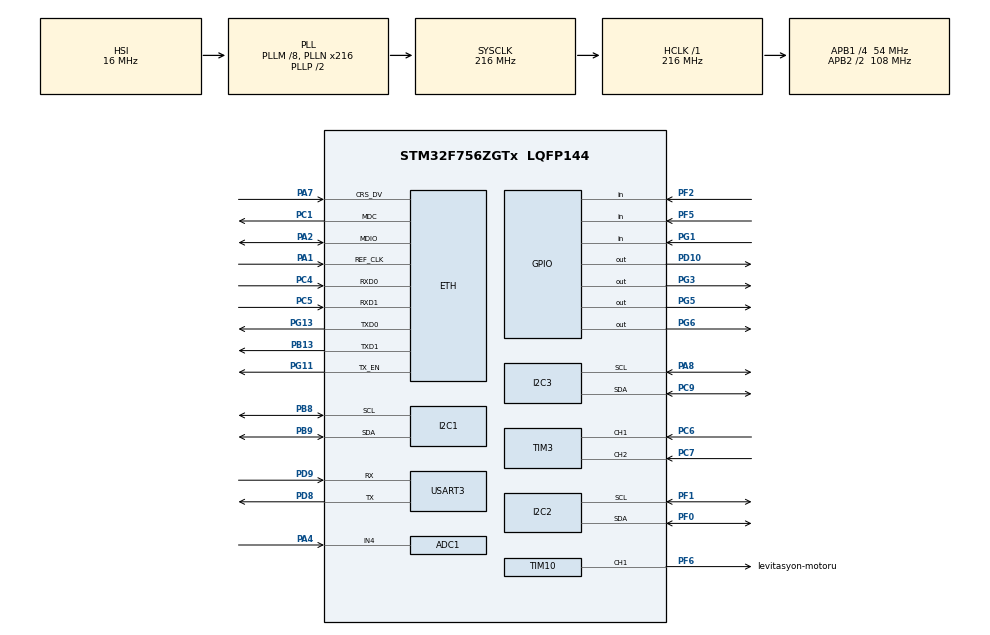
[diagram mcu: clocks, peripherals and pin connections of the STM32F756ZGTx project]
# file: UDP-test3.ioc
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ADC1.Channel-0\#ChannelRegularConversion=ADC_CHANNEL_4
ADC1.ClockPrescaler=ADC_CLOCK_SYNC_PCLK_DIV8
ADC1.ContinuousConvMode=ENABLE
ADC1.NbrOfConversionFlag=1
ADC1.Rank-0\#ChannelRegularConversion=1
ADC1.SamplingTime-0\#ChannelRegularConversion=ADC_SAMPLETIME_3CYCLES
ADC1.master=1
CORTEX_M7.default_mode_Activation=1
ETH.MediaInterface=HAL_ETH_RMII_MODE
I2C1.Timing=0x20404768
I2C2.Timing=0x20404768
I2C3.Timing=0x20404768
LWIP.BSP.number=1
LWIP.GATEWAY_ADDRESS=192.168.001.001
LWIP.IP_ADDRESS=192.168.001.020
LWIP.LWIP_DHCP=0
LWIP.LWIP_TCP=0
LWIP.NETMASK_ADDRESS=255.255.255.000
LWIP.Version=v2.1.2_Cube
LWIP0.BSP.STBoard=false
LWIP0.BSP.api=BSP_COMPONENT_DRIVER
LWIP0.BSP.component=LAN8742
LWIP0.BSP.instance=LAN8742
LWIP0.BSP.name=Driver_PHY
LWIP0.BSP.semaphore=S_LAN8742
LWIP0.BSP.solution=LAN8742
Mcu.Family=STM32F7
Mcu.Name=STM32F756ZGTx
Mcu.Package=LQFP144
NVIC.PriorityGroup=NVIC_PRIORITYGROUP_4
PA1.Mode=RMII
PA1.Signal=ETH_REF_CLK
PA13.Mode=Serial_Wire
PA13.Signal=SYS_JTMS-SWDIO
PA14.Mode=Serial_Wire
PA14.Signal=SYS_JTCK-SWCLK
PA2.Mode=RMII
PA2.Signal=ETH_MDIO
PA4.Signal=ADCx_IN4
PA7.Mode=RMII
PA7.Signal=ETH_CRS_DV
PA8.Mode=I2C
PA8.Signal=I2C3_SCL
PB13.Mode=RMII
PB13.Signal=ETH_TXD1
PB8.Mode=I2C
PB8.Signal=I2C1_SCL
PB9.Mode=I2C
PB9.Signal=I2C1_SDA
PC1.Mode=RMII
PC1.Signal=ETH_MDC
PC4.Mode=RMII
PC4.Signal=ETH_RXD0
PC5.Mode=RMII
PC5.Signal=ETH_RXD1
PC6.Signal=S_TIM3_CH1
PC7.Signal=S_TIM3_CH2
PC9.Mode=I2C
PC9.Signal=I2C3_SDA
PD10.Signal=GPIO_Output
PD8.Mode=Asynchronous
PD8.Signal=USART3_TX
PD9.Mode=Asynchronous
PD9.Signal=USART3_RX
PF0.Mode=I2C
PF0.Signal=I2C2_SDA
PF1.Mode=I2C
PF1.Signal=I2C2_SCL
PF2.Signal=GPIO_Input
PF5.Signal=GPIO_Input
PF6.GPIO_Label=levitasyon-motoru
PF6.Signal=S_TIM10_CH1
PG1.Signal=GPIO_Input
PG11.Mode=RMII
PG11.Signal=ETH_TX_EN
PG13.Mode=RMII
PG13.Signal=ETH_TXD0
PG3.Signal=GPIO_Output
PG5.Signal=GPIO_Output
PG6.Signal=GPIO_Output
ProjectManager.HeapSize=0x200
ProjectManager.StackSize=0x400
ProjectManager.TargetToolchain=STM32CubeIDE
RCC.AHBFreq_Value=216000000
RCC.APB1CLKDivider=RCC_HCLK_DIV4
RCC.APB1Freq_Value=54000000
RCC.APB1TimFreq_Value=108000000
RCC.APB2CLKDivider=RCC_HCLK_DIV2
RCC.APB2Freq_Value=108000000
RCC.APB2TimFreq_Value=216000000
RCC.CortexFreq_Value=216000000
RCC.HCLKFreq_Value=216000000
RCC.HSE_VALUE=25000000
RCC.HSI_VALUE=16000000
RCC.LSE_VALUE=32768
RCC.PLLM=8
RCC.PLLN=216
RCC.SYSCLKFreq_VALUE=216000000
RCC.SYSCLKSource=RCC_SYSCLKSOURCE_PLLCLK
RCC.USBFreq_Value=216000000
RCC.VCOOutputFreq_Value=432000000
SH.ADCx_IN4.0=ADC1_IN4,IN4
SH.S_TIM10_CH1.0=TIM10_CH1,PWM Generation1 CH1
SH.S_TIM3_CH1.0=TIM3_CH1,Encoder_Interface
SH.S_TIM3_CH2.0=TIM3_CH2,Encoder_Interface
TIM10.Channel=TIM_CHANNEL_1
TIM3.EncoderMode=TIM_ENCODERMODE_TI12
USART3.VirtualMode-Asynchronous=VM_ASYNC
VP_LWIP_VS_Enabled.Mode=Enabled
VP_TIM10_VS_ClockSourceINT.Mode=Enable_Timer
board=custom

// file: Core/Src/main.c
/* USER CODE BEGIN Header */
/**
  ******************************************************************************
  * @file           : main.c
  * @brief          : Main program body
  ******************************************************************************
  * @attention
  *
  * Copyright (c) 2025 STMicroelectronics.
  * All rights reserved.
  *
  * This software is licensed under terms that can be found in the LICENSE file
  * in the root directory of this software component.
  * If no LICENSE file comes with this software, it is provided AS-IS.
  *
  ******************************************************************************
  */
/* USER CODE END Header */
#include "main.h"
#include "lwip.h"

/* USER CODE BEGIN Includes */
#include "string.h"
#include "stdio.h"
#include "lwip/udp.h"
#include "lwip/ip_addr.h"
#include "udp_echoserver.h"
#include "stm32f7xx_hal.h"
#include "stm32f7xx_hal_gpio.h"
#include "mlx90614.h"
#include "bno055.h"
#include "ir_sensor.h"
#include "encoder.h"
/* USER CODE END Includes */

/* USER CODE BEGIN PTD */
// BNO055 sensor instance
bno055_t bno055_sensor;

// IR sensor instances
ir_sensor_t ir_sensor;
ir_sensor_t ir_sensor2;  // İkinci IR sensör için yapı
/* USER CODE END PTD */

/* USER CODE BEGIN PD */

#define LD1_Pin GPIO_PIN_0
#define LD2_Pin GPIO_PIN_7
#define LD3_Pin GPIO_PIN_14
#define LD1_GPIO_Port GPIOB
#define LD2_GPIO_Port GPIOB
#define LD3_GPIO_Port GPIOB

/* IR Sensor pin tanımlamaları */
#define IR_SENSOR_Pin GPIO_PIN_5
#define IR_SENSOR_GPIO_Port GPIOF

/* Akım sensörü tanımlamaları */
#define ADC_PIN GPIO_PIN_4        // PA4 pin ADC1_IN4
#define ADC_PORT GPIOA
#define VCC 3.31f                  // Referans gerilim STM32
#define SIFIR_NOKTA 2.5f         // Sıfır akımda çıkış voltajı
#define HASSASIYET 0.04f          // Sensör hassasiyeti (V/A)

// Filtreleme parametreleri
#define SAMPLE_COUNT 50           // Ortalama için örnek sayısı
#define ALPHA 0.1f               // Low-pass filter katsayısı (0.1 = %10 yeni, %90 eski)

// İKİNCİ IR SENSOR
#define IR_SENSOR2_Pin GPIO_PIN_1
#define IR_SENSOR2_GPIO_Port GPIOG

// ENCODER Z pini  Tanımlaması
#define ENCODER_PIN GPIO_PIN_2
#define ENCODER_PIN_GPIO_Port GPIOF

/* USER CODE END PD */

ADC_HandleTypeDef hadc1;

I2C_HandleTypeDef hi2c1;
I2C_HandleTypeDef hi2c2;
I2C_HandleTypeDef hi2c3;

TIM_HandleTypeDef htim3;
TIM_HandleTypeDef htim10;

UART_HandleTypeDef huart3;

/* USER CODE BEGIN PV */
extern ADC_HandleTypeDef hadc1;
uint32_t counter = 0;
extern uint8_t current_speed;  // udp_echoserver.c'deki global değişkeni dışa aktarıyoruz
struct udp_pcb *udp_socket;
ip_addr_t dest_ip;

// MLX90614 Temperature Sensor Variables (volatile for Live Expressions)
volatile float ambient_temp_C = 0.0f;
volatile float object_temp_C = 0.0f;
volatile uint8_t mlx_connection_status = 0;
volatile uint32_t ambient_error_count = 0;
volatile uint32_t object_error_count = 0;

// BNO055 Accelerometer Variables (volatile for Live Expressions)
volatile float accel_x = 0.0f;
volatile float accel_y = 0.0f;
volatile float accel_z = 0.0f;

// BNO055 Gyroscope Variables (volatile for Live Expressions)
volatile float gyro_x = 0.0f;
volatile float gyro_y = 0.0f;
volatile float gyro_z = 0.0f;

// Akım Sensörü Değişkenleri
volatile float voltage = 0;
volatile float current = 0;
volatile float filtered_voltage = 0;
volatile float filtered_current = 0;

// Encoder Değişkenleri (encoder.c'den extern)
extern volatile int32_t encoder_position;
extern volatile int32_t encoder_velocity;
extern volatile float encoder_speed;
extern volatile float encoder_total_distance;

// IR Sensör Variables (volatile for Live Expressions)
volatile uint8_t ir_sensor_state = 0;
volatile uint8_t last_ir_sensor_state = 1;
volatile uint32_t ir_object_count = 0;

// İKİNCİ IR SENSÖR - PF4 PİNİ (YENİ!)
volatile uint8_t ir_sensor2_state = 0;
volatile uint8_t last_ir_sensor2_state = 1;
volatile uint32_t ir_object2_count = 0;

// Additional global variables for sensor operations
MLX90614_t mlx90614_sensor_instance;
char uart_buffer[512];

// Motor kontrol pinleri
GPIO_TypeDef *INPUT1_PORT = GPIOG;
GPIO_TypeDef *INPUT2_PORT = GPIOD;
uint16_t INPUT1_PIN = GPIO_PIN_3;  // PG3
uint16_t INPUT2_PIN = GPIO_PIN_10; // PD10
/* USER CODE END PV */

void SystemClock_Config(void);
static void MPU_Config(void);
static void MX_GPIO_Init(void);
static void MX_USART3_UART_Init(void);
static void MX_TIM10_Init(void);
static void MX_I2C1_Init(void);
static void MX_I2C2_Init(void);
static void MX_I2C3_Init(void);
static void MX_TIM3_Init(void);
static void MX_ADC1_Init(void);

/* USER CODE BEGIN 0 */

// ESC kalibrasyon ve hız kontrolü için değişkenler
static const uint32_t ESC_MIN_PULSE = 1050;     // Minimum pulse (Futaba standard)
static const uint32_t ESC_MAX_PULSE = 1940;     // Maximum pulse (Futaba standard)
static const uint32_t ESC_START_PULSE = 1050;   // Başlangıç pulse değeri
static uint8_t esc_calibrated = 0;              // Kalibrasyon durumu

// ESC başlangıç kalibrasyonu
void CalibrateESC(void) {
    // Önce minimum sinyal gönder ve bekle
    __HAL_TIM_SET_COMPARE(&htim10, TIM_CHANNEL_1, ESC_MIN_PULSE);
    HAL_Delay(2000);  // 2 saniye bekle

    // Başlangıç sinyalini gönder
    __HAL_TIM_SET_COMPARE(&htim10, TIM_CHANNEL_1, ESC_START_PULSE);
    HAL_Delay(2000);  // 2 saniye bekle

    esc_calibrated = 1;  // Kalibrasyon tamamlandı
}
void IncreaseMotorSpeed(void) {
    if (current_speed < 100) {
        current_speed += 1;  // %0.5'lik artış
        SetMotorSpeed(current_speed);
    }
}

void DecreaseMotorSpeed(void) {
    if (current_speed > 0) {
        current_speed  = 0;  // direkt sıfırlama
        SetMotorSpeed(current_speed);
    }
}

// ESC hız kontrolü için fonksiyon (0-100 yüzde)
void SetMotorSpeed(uint8_t speed_percent) {
    if (!esc_calibrated) return;

    if (speed_percent > 100) speed_percent = 100;

    uint32_t pulse;
    if (speed_percent == 0) {
        pulse = ESC_MIN_PULSE;
    } else {
        pulse = ESC_MIN_PULSE + (((uint32_t)(ESC_MAX_PULSE - ESC_MIN_PULSE) * speed_percent) / 100);
    }

    // Timer değerlerine ölçekle
    uint32_t timer_value = (pulse * (htim10.Init.Period + 1)) / 20000;
    __HAL_TIM_SET_COMPARE(&htim10, TIM_CHANNEL_1, timer_value);
}

uint32_t ADC_Read_Average(void)
{
    uint32_t total = 0;
    uint32_t valid_samples = 0;

    for(int i = 0; i < SAMPLE_COUNT; i++)
    {
        HAL_ADC_Start(&hadc1);
        if(HAL_ADC_PollForConversion(&hadc1, 100) == HAL_OK)
        {
            uint32_t val = HAL_ADC_GetValue(&hadc1);
            total += val;
            valid_samples++;
        }
        HAL_ADC_Stop(&hadc1);
        HAL_Delay(1);  // Örnekler arası kısa bekleme
    }

    if(valid_samples > 0)
        return total / valid_samples;
    else
        return 0;
}

// Low-pass filtre fonksiyonu
float lowPassFilter(float newValue, float oldValue)
{
    return (ALPHA * newValue) + ((1.0f - ALPHA) * oldValue);
}
/* USER CODE END 0 */

int main(void)
{

  /* MPU Configuration--------------------------------------------------------*/
  MPU_Config();

  /* MCU Configuration--------------------------------------------------------*/

  /* Reset of all peripherals, Initializes the Flash interface and the Systick. */
  HAL_Init();

  /* Configure the system clock */
  SystemClock_Config();

  /* Initialize all configured peripherals */
  MX_GPIO_Init();
  MX_USART3_UART_Init();
  MX_LWIP_Init();
  MX_TIM10_Init();
  MX_I2C1_Init();
  MX_I2C2_Init();
  MX_I2C3_Init();
  MX_TIM3_Init();
  MX_ADC1_Init();
  /* USER CODE BEGIN 2 */
    // MLX90614 sensor instance initialization
  mlx90614_init(&mlx90614_sensor_instance, &hi2c1, 0xB4);

  // IR sensor'ü başlat
  ir_sensor_init(&ir_sensor, IR_SENSOR_GPIO_Port, IR_SENSOR_Pin);

    // İKİNCİ IR SENSOR'Ü BAŞLAT - PF4 PİNİ (YENİ!)
  ir_sensor_init(&ir_sensor2, IR_SENSOR2_GPIO_Port, IR_SENSOR2_Pin);

    // BNO055 initialization (I2C2) - using existing library
  if(bno055_init(&bno055_sensor, &hi2c2, BNO055_ADDRESS_A)) {
      bno055_setOperationMode(&bno055_sensor, OPERATION_MODE_ACCONLY);
      HAL_Delay(100);
      sprintf(uart_buffer, "BNO055 initialized successfully.\r\n");
  } else {
      sprintf(uart_buffer, "BNO055 initialization failed.\r\n");
  }
  HAL_UART_Transmit(&huart3,(uint8_t*)uart_buffer,strlen(uart_buffer),10);

    // Encoder initialization (TIM3) - NOT TOUCHING
  HAL_TIM_Encoder_Start(&htim3, TIM_CHANNEL_ALL);
  HAL_GPIO_WritePin(ENCODER_PIN_GPIO_Port, ENCODER_PIN, GPIO_PIN_SET);

  // Başlangıçta her iki pini HIGH yaparak aracı durdur
  HAL_GPIO_WritePin(GPIOG, GPIO_PIN_3, GPIO_PIN_SET);    // PG3 HIGH
  HAL_GPIO_WritePin(GPIOD, GPIO_PIN_10, GPIO_PIN_SET);   // PD10 HIGH

  // PWM çıkışını başlat ve ESC için güvenli başlangıç değerini ayarla
  HAL_TIM_PWM_Start(&htim10, TIM_CHANNEL_1);
  __HAL_TIM_SET_COMPARE(&htim10, TIM_CHANNEL_1, ESC_MIN_PULSE); // Minimum pulse değeri

  // ESC kalibrasyonunu yap
  CalibrateESC();

  // Initialize UDP echo server
  __udp_echoserver_init_oo();

  // Setup the UDP socket
  udp_socket = udp_new();
  if (udp_socket == NULL)
  {
    printf("Error creating UDP socket\n");
    return 1;
  }

  // Set packet headers informations
  IP4_ADDR(&dest_ip, 192, 168, 1, 255);
  uint16_t dest_port = 8080;

  /* USER CODE END 2 */

  /* Infinite loop */
  while (1)
  {

    /* USER CODE BEGIN 3 */
    // Process incoming packet and let LwIP stack handle it
    MX_LWIP_Process();
    //Levitasyon motorunun hızını istediğimiz zaman durdurmamızı sağlayan fonksiyon
    ProcessLevitation();
    // Ortalama ADC okuması
    uint32_t adc_val = ADC_Read_Average();

    // Ham voltaj hesaplama
    voltage = ((float)adc_val * VCC) / 4095.0f;
    current = (SIFIR_NOKTA - voltage) / HASSASIYET;

    // Low-pass filtre uygula
    filtered_voltage = lowPassFilter(voltage, filtered_voltage);
    filtered_current = lowPassFilter(current, filtered_current);
// MLX90614 Temperature readings - Güvenli okuma
    float ambient=0.0f, object=0.0f;
    if(mlx90614_getAmbient(&mlx90614_sensor_instance, &ambient)) {
        ambient_temp_C = ambient;
        mlx_connection_status = 1;
    } else {
        ambient_error_count++;
        mlx_connection_status = 0;
        ambient_temp_C = 25.0f; // Varsayılan sıcaklık
    }
    if(mlx90614_getObject1(&mlx90614_sensor_instance, &object)) {
        object_temp_C = object;
    } else {
        object_error_count++;
        object_temp_C = 30.0f; // Varsayılan nesne sıcaklığı
    }

        // BNO055 Accelerometer readings using existing library
    bno055_vector_t accel_vector;
    if(bno055_getVector(&bno055_sensor, VECTOR_ACCELEROMETER, &accel_vector)) {
        accel_x = accel_vector.x;
        accel_y = accel_vector.y;
        accel_z = accel_vector.z;
    }

    // BNO055 Gyroscope readings using existing library
    bno055_vector_t gyro_vector;
    if(bno055_getVector(&bno055_sensor, VECTOR_GYROSCOPE, &gyro_vector)) {
        gyro_x = gyro_vector.x;
        gyro_y = gyro_vector.y;
        gyro_z = gyro_vector.z;
    }

        // Encoder readings (external function)
    Encoder_Update();

        // IR Sensor readings using existing library
    ir_sensor_update(&ir_sensor);
    ir_sensor_state = ir_sensor_get_state(&ir_sensor);
    if(last_ir_sensor_state != ir_sensor_state){
        if(ir_sensor_state == 0) ir_object_count++;
    }
    last_ir_sensor_state = ir_sensor_state;

    // İKİNCİ IR SENSOR OKUMA - PF4 PİNİ (YENİ!)
    ir_sensor_update(&ir_sensor2);
    ir_sensor2_state = ir_sensor_get_state(&ir_sensor2);
    if(last_ir_sensor2_state != ir_sensor2_state){
        if(ir_sensor2_state == 0) ir_object2_count++;
    }
    last_ir_sensor2_state = ir_sensor2_state;

    // Sensör verilerini integer'a çevir
    int temp_int = (int)(ambient_temp_C * 100);
    int obj_temp_int = (int)(object_temp_C * 100);
    int ax_int = (int)(accel_x * 100);
    int ay_int = (int)(accel_y * 100);
    int az_int = (int)(accel_z * 100);
    int gx_int = (int)(gyro_x * 100);
    int gy_int = (int)(gyro_y * 100);
    int gz_int = (int)(gyro_z * 100);

    // Encoder verilerini metreye çevir (cm -> m)
    float total_distance_m = get_total_distance() / 100.0f;  // cm'den metreye çevir
    long enc_pos_int = (long)(total_distance_m * 1000);  // Metreyi milimetreye çevir ve long olarak sakla
    long enc_spd_int = (long)(encoder_speed * 1000);    // Hızı da aynı şekilde

    //Akım Sensörü verilerini integer'a çevir

    int current_int = (int)(filtered_current * 100);

    // Sıcaklık ve IMU verilerini 0-9999 aralığında sınırla
    temp_int = temp_int < 0 ? 0 : (temp_int > 9999 ? 9999 : temp_int);
    obj_temp_int = obj_temp_int < 0 ? 0 : (obj_temp_int > 9999 ? 9999 : obj_temp_int);
    ax_int = ax_int < 0 ? 0 : (ax_int > 9999 ? 9999 : ax_int);
    ay_int = ay_int < 0 ? 0 : (ay_int > 9999 ? 9999 : ay_int);
    az_int = az_int < 0 ? 0 : (az_int > 9999 ? 9999 : az_int);
    gx_int = gx_int < 0 ? 0 : (gx_int > 9999 ? 9999 : gx_int);
    gy_int = gy_int < 0 ? 0 : (gy_int > 9999 ? 9999 : gy_int);
    gz_int = gz_int < 0 ? 0 : (gz_int > 9999 ? 9999 : gz_int);

    // JSON formatında birleştir
    char message[1024];  // Buffer boyutunu artırdık
    snprintf(message, sizeof(message),
        "{\"temperature\":%d,\"object_temp\":%d,\"accel_x\":%d,\"accel_y\":%d,\"accel_z\":%d,"
        "\"gyro_x\":%d,\"gyro_y\":%d,\"gyro_z\":%d,\"total_distance\":%ld,\"encoder_speed\":%ld,"
        "\"ir_state\":%d,\"ir_state2\":%d,\"current\":%d}",
        temp_int, obj_temp_int, ax_int, ay_int, az_int, gx_int, gy_int, gz_int,
        enc_pos_int, enc_spd_int, ir_object_count, ir_object2_count,current_int);

    // Set the structure to handle the packet
    struct pbuf *p;
    p = pbuf_alloc(PBUF_TRANSPORT, strlen(message) + 1, PBUF_RAM);
    if (p == NULL)
    {
        printf("Error allocating pbuf\n");
        break;
    }

    // Send the JSON message over UDP
    memcpy(p->payload, message, strlen(message) + 1);
    err_t err = udp_sendto(udp_socket, p, &dest_ip, dest_port);
    if (err != ERR_OK)
    {
        printf("Error while sending UDP packet\n");
    }

    pbuf_free(p);

    // Update the counter value (if needed for additional features)
    counter++;
    if (counter == 10)
    {
        counter = 0;
    }

    // Wait for 15 ms
    HAL_Delay(15);

  }

  // This point shall not be reached
  udp_remove(udp_socket);
  /* USER CODE END 3 */
}

void SystemClock_Config(void)
{
  RCC_OscInitTypeDef RCC_OscInitStruct = {0};
  RCC_ClkInitTypeDef RCC_ClkInitStruct = {0};

  /** Configure the main internal regulator output voltage
  */
  __HAL_RCC_PWR_CLK_ENABLE();
  __HAL_PWR_VOLTAGESCALING_CONFIG(PWR_REGULATOR_VOLTAGE_SCALE1);

  /** Initializes the RCC Oscillators according to the specified parameters
  * in the RCC_OscInitTypeDef structure.
  */
  RCC_OscInitStruct.OscillatorType = RCC_OSCILLATORTYPE_HSI;
  RCC_OscInitStruct.HSIState = RCC_HSI_ON;
  RCC_OscInitStruct.HSICalibrationValue = RCC_HSICALIBRATION_DEFAULT;
  RCC_OscInitStruct.PLL.PLLState = RCC_PLL_ON;
  RCC_OscInitStruct.PLL.PLLSource = RCC_PLLSOURCE_HSI;
  RCC_OscInitStruct.PLL.PLLM = 8;
  RCC_OscInitStruct.PLL.PLLN = 216;
  RCC_OscInitStruct.PLL.PLLP = RCC_PLLP_DIV2;
  RCC_OscInitStruct.PLL.PLLQ = 2;
  if (HAL_RCC_OscConfig(&RCC_OscInitStruct) != HAL_OK)
  {
    Error_Handler();
  }

  /** Activate the Over-Drive mode
  */
  if (HAL_PWREx_EnableOverDrive() != HAL_OK)
  {
    Error_Handler();
  }

  /** Initializes the CPU, AHB and APB buses clocks
  */
  RCC_ClkInitStruct.ClockType = RCC_CLOCKTYPE_HCLK|RCC_CLOCKTYPE_SYSCLK
                              |RCC_CLOCKTYPE_PCLK1|RCC_CLOCKTYPE_PCLK2;
  RCC_ClkInitStruct.SYSCLKSource = RCC_SYSCLKSOURCE_PLLCLK;
  RCC_ClkInitStruct.AHBCLKDivider = RCC_SYSCLK_DIV1;
  RCC_ClkInitStruct.APB1CLKDivider = RCC_HCLK_DIV4;
  RCC_ClkInitStruct.APB2CLKDivider = RCC_HCLK_DIV2;

  if (HAL_RCC_ClockConfig(&RCC_ClkInitStruct, FLASH_LATENCY_7) != HAL_OK)
  {
    Error_Handler();
  }
}

static void MX_ADC1_Init(void)
{

  ADC_ChannelConfTypeDef sConfig = {0};

  /** Configure the global features of the ADC (Clock, Resolution, Data Alignment and number of conversion)
  */
  hadc1.Instance = ADC1;
  hadc1.Init.ClockPrescaler = ADC_CLOCK_SYNC_PCLK_DIV8;
  hadc1.Init.Resolution = ADC_RESOLUTION_12B;
  hadc1.Init.ScanConvMode = ADC_SCAN_DISABLE;
  hadc1.Init.ContinuousConvMode = ENABLE;
  hadc1.Init.DiscontinuousConvMode = DISABLE;
  hadc1.Init.ExternalTrigConvEdge = ADC_EXTERNALTRIGCONVEDGE_NONE;
  hadc1.Init.ExternalTrigConv = ADC_SOFTWARE_START;
  hadc1.Init.DataAlign = ADC_DATAALIGN_RIGHT;
  hadc1.Init.NbrOfConversion = 1;
  hadc1.Init.DMAContinuousRequests = DISABLE;
  hadc1.Init.EOCSelection = ADC_EOC_SINGLE_CONV;
  if (HAL_ADC_Init(&hadc1) != HAL_OK)
  {
    Error_Handler();
  }

  /** Configure for the selected ADC regular channel its corresponding rank in the sequencer and its sample time.
  */
  sConfig.Channel = ADC_CHANNEL_4;
  sConfig.Rank = ADC_REGULAR_RANK_1;
  sConfig.SamplingTime = ADC_SAMPLETIME_480CYCLES;
  if (HAL_ADC_ConfigChannel(&hadc1, &sConfig) != HAL_OK)
  {
    Error_Handler();
  }

}

static void MX_I2C1_Init(void)
{

  hi2c1.Instance = I2C1;
  hi2c1.Init.Timing = 0x20404768;
  hi2c1.Init.OwnAddress1 = 0;
  hi2c1.Init.AddressingMode = I2C_ADDRESSINGMODE_7BIT;
  hi2c1.Init.DualAddressMode = I2C_DUALADDRESS_DISABLE;
  hi2c1.Init.OwnAddress2 = 0;
  hi2c1.Init.OwnAddress2Masks = I2C_OA2_NOMASK;
  hi2c1.Init.GeneralCallMode = I2C_GENERALCALL_DISABLE;
  hi2c1.Init.NoStretchMode = I2C_NOSTRETCH_DISABLE;
  if (HAL_I2C_Init(&hi2c1) != HAL_OK)
  {
    Error_Handler();
  }

  /** Configure Analogue filter
  */
  if (HAL_I2CEx_ConfigAnalogFilter(&hi2c1, I2C_ANALOGFILTER_ENABLE) != HAL_OK)
  {
    Error_Handler();
  }

  /** Configure Digital filter
  */
  if (HAL_I2CEx_ConfigDigitalFilter(&hi2c1, 0) != HAL_OK)
  {
    Error_Handler();
  }

}

static void MX_I2C2_Init(void)
{

  hi2c2.Instance = I2C2;
  hi2c2.Init.Timing = 0x20404768;
  hi2c2.Init.OwnAddress1 = 0;
  hi2c2.Init.AddressingMode = I2C_ADDRESSINGMODE_7BIT;
  hi2c2.Init.DualAddressMode = I2C_DUALADDRESS_DISABLE;
  hi2c2.Init.OwnAddress2 = 0;
  hi2c2.Init.OwnAddress2Masks = I2C_OA2_NOMASK;
  hi2c2.Init.GeneralCallMode = I2C_GENERALCALL_DISABLE;
  hi2c2.Init.NoStretchMode = I2C_NOSTRETCH_DISABLE;
  if (HAL_I2C_Init(&hi2c2) != HAL_OK)
  {
    Error_Handler();
  }

  /** Configure Analogue filter
  */
  if (HAL_I2CEx_ConfigAnalogFilter(&hi2c2, I2C_ANALOGFILTER_ENABLE) != HAL_OK)
  {
    Error_Handler();
  }

  /** Configure Digital filter
  */
  if (HAL_I2CEx_ConfigDigitalFilter(&hi2c2, 0) != HAL_OK)
  {
    Error_Handler();
  }

}

static void MX_I2C3_Init(void)
{

  hi2c3.Instance = I2C3;
  hi2c3.Init.Timing = 0x20404768;
  hi2c3.Init.OwnAddress1 = 0;
  hi2c3.Init.AddressingMode = I2C_ADDRESSINGMODE_7BIT;
  hi2c3.Init.DualAddressMode = I2C_DUALADDRESS_DISABLE;
  hi2c3.Init.OwnAddress2 = 0;
  hi2c3.Init.OwnAddress2Masks = I2C_OA2_NOMASK;
  hi2c3.Init.GeneralCallMode = I2C_GENERALCALL_DISABLE;
  hi2c3.Init.NoStretchMode = I2C_NOSTRETCH_DISABLE;
  if (HAL_I2C_Init(&hi2c3) != HAL_OK)
  {
    Error_Handler();
  }

  /** Configure Analogue filter
  */
  if (HAL_I2CEx_ConfigAnalogFilter(&hi2c3, I2C_ANALOGFILTER_ENABLE) != HAL_OK)
  {
    Error_Handler();
  }

  /** Configure Digital filter
  */
  if (HAL_I2CEx_ConfigDigitalFilter(&hi2c3, 0) != HAL_OK)
  {
    Error_Handler();
  }

}

static void MX_TIM3_Init(void)
{

  TIM_Encoder_InitTypeDef sConfig = {0};
  TIM_MasterConfigTypeDef sMasterConfig = {0};

  htim3.Instance = TIM3;
  htim3.Init.Prescaler = 0;
  htim3.Init.CounterMode = TIM_COUNTERMODE_UP;
  htim3.Init.Period = 65535;
  htim3.Init.ClockDivision = TIM_CLOCKDIVISION_DIV1;
  htim3.Init.AutoReloadPreload = TIM_AUTORELOAD_PRELOAD_DISABLE;
  sConfig.EncoderMode = TIM_ENCODERMODE_TI12;
  sConfig.IC1Polarity = TIM_ICPOLARITY_RISING;
  sConfig.IC1Selection = TIM_ICSELECTION_DIRECTTI;
  sConfig.IC1Prescaler = TIM_ICPSC_DIV1;
  sConfig.IC1Filter = 0;
  sConfig.IC2Polarity = TIM_ICPOLARITY_RISING;
  sConfig.IC2Selection = TIM_ICSELECTION_DIRECTTI;
  sConfig.IC2Prescaler = TIM_ICPSC_DIV1;
  sConfig.IC2Filter = 0;
  if (HAL_TIM_Encoder_Init(&htim3, &sConfig) != HAL_OK)
  {
    Error_Handler();
  }
  sMasterConfig.MasterOutputTrigger = TIM_TRGO_RESET;
  sMasterConfig.MasterSlaveMode = TIM_MASTERSLAVEMODE_DISABLE;
  if (HAL_TIMEx_MasterConfigSynchronization(&htim3, &sMasterConfig) != HAL_OK)
  {
    Error_Handler();
  }

}

static void MX_TIM10_Init(void)
{

  TIM_OC_InitTypeDef sConfigOC = {0};

  htim10.Instance = TIM10;
  htim10.Init.Prescaler = 216-1;     // APB2 timer clock = 216MHz
  htim10.Init.CounterMode = TIM_COUNTERMODE_UP;
  htim10.Init.Period = 20000-1;      // 20ms period for servo (50Hz)
  htim10.Init.ClockDivision = TIM_CLOCKDIVISION_DIV1;
  htim10.Init.AutoReloadPreload = TIM_AUTORELOAD_PRELOAD_ENABLE;
  if (HAL_TIM_Base_Init(&htim10) != HAL_OK)
  {
    Error_Handler();
  }
  if (HAL_TIM_PWM_Init(&htim10) != HAL_OK)
  {
    Error_Handler();
  }
  sConfigOC.OCMode = TIM_OCMODE_PWM1;
  sConfigOC.Pulse = 1000;            // Başlangıç: Motor kapalı
  sConfigOC.OCPolarity = TIM_OCPOLARITY_HIGH;
  sConfigOC.OCFastMode = TIM_OCFAST_DISABLE;
  if (HAL_TIM_PWM_ConfigChannel(&htim10, &sConfigOC, TIM_CHANNEL_1) != HAL_OK)
  {
    Error_Handler();
  }
  HAL_TIM_MspPostInit(&htim10);

}

static void MX_USART3_UART_Init(void)
{

  huart3.Instance = USART3;
  huart3.Init.BaudRate = 115200;
  huart3.Init.WordLength = UART_WORDLENGTH_8B;
  huart3.Init.StopBits = UART_STOPBITS_1;
  huart3.Init.Parity = UART_PARITY_NONE;
  huart3.Init.Mode = UART_MODE_TX_RX;
  huart3.Init.HwFlowCtl = UART_HWCONTROL_NONE;
  huart3.Init.OverSampling = UART_OVERSAMPLING_16;
  huart3.Init.OneBitSampling = UART_ONE_BIT_SAMPLE_DISABLE;
  huart3.AdvancedInit.AdvFeatureInit = UART_ADVFEATURE_NO_INIT;
  if (HAL_UART_Init(&huart3) != HAL_OK)
  {
    Error_Handler();
  }

}

static void MX_GPIO_Init(void)
{
  GPIO_InitTypeDef GPIO_InitStruct = {0};

  /* GPIO Ports Clock Enable */
  __HAL_RCC_GPIOF_CLK_ENABLE();
  __HAL_RCC_GPIOC_CLK_ENABLE();
  __HAL_RCC_GPIOA_CLK_ENABLE();
  __HAL_RCC_GPIOG_CLK_ENABLE();
  __HAL_RCC_GPIOB_CLK_ENABLE();
  __HAL_RCC_GPIOD_CLK_ENABLE();

  /*Configure GPIO pin Output Level */
  HAL_GPIO_WritePin(GPIOD, GPIO_PIN_10, GPIO_PIN_RESET);

  /*Configure GPIO pin Output Level */
  HAL_GPIO_WritePin(GPIOG, GPIO_PIN_3|GPIO_PIN_5|GPIO_PIN_6, GPIO_PIN_RESET);

  /*Configure GPIO pins : PF2 PF5 */
  GPIO_InitStruct.Pin = GPIO_PIN_2|GPIO_PIN_5;
  GPIO_InitStruct.Mode = GPIO_MODE_INPUT;
  GPIO_InitStruct.Pull = GPIO_NOPULL;
  HAL_GPIO_Init(GPIOF, &GPIO_InitStruct);

  /*Configure GPIO pin : PG1 */
  GPIO_InitStruct.Pin = GPIO_PIN_1;
  GPIO_InitStruct.Mode = GPIO_MODE_INPUT;
  GPIO_InitStruct.Pull = GPIO_NOPULL;
  HAL_GPIO_Init(GPIOG, &GPIO_InitStruct);

  /*Configure GPIO pin : PD10 */
  GPIO_InitStruct.Pin = GPIO_PIN_10;
  GPIO_InitStruct.Mode = GPIO_MODE_OUTPUT_PP;
  GPIO_InitStruct.Pull = GPIO_NOPULL;
  GPIO_InitStruct.Speed = GPIO_SPEED_FREQ_LOW;
  HAL_GPIO_Init(GPIOD, &GPIO_InitStruct);

  /*Configure GPIO pins : PG3 PG5 PG6 */
  GPIO_InitStruct.Pin = GPIO_PIN_3|GPIO_PIN_5|GPIO_PIN_6;
  GPIO_InitStruct.Mode = GPIO_MODE_OUTPUT_PP;
  GPIO_InitStruct.Pull = GPIO_NOPULL;
  GPIO_InitStruct.Speed = GPIO_SPEED_FREQ_LOW;
  HAL_GPIO_Init(GPIOG, &GPIO_InitStruct);

  /* USER CODE BEGIN MX_GPIO_Init_2 */

  /* Configure GPIO pins */
  GPIO_InitStruct.Mode = GPIO_MODE_OUTPUT_PP;
  GPIO_InitStruct.Pull = GPIO_NOPULL;
  GPIO_InitStruct.Speed = GPIO_SPEED_FREQ_LOW;

  /* Configure PG3 */
  GPIO_InitStruct.Pin = GPIO_PIN_3;
  HAL_GPIO_Init(GPIOG, &GPIO_InitStruct);

  /* Configure PD10 */
  GPIO_InitStruct.Pin = GPIO_PIN_10;
  HAL_GPIO_Init(GPIOD, &GPIO_InitStruct);

  /* Set initial pin states to HIGH */
  HAL_GPIO_WritePin(GPIOG, GPIO_PIN_3, GPIO_PIN_SET);
  HAL_GPIO_WritePin(GPIOD, GPIO_PIN_10, GPIO_PIN_SET);

  /* USER CODE END MX_GPIO_Init_2 */
}

 /* MPU Configuration */

void MPU_Config(void)
{
  MPU_Region_InitTypeDef MPU_InitStruct = {0};

  /* Disables the MPU */
  HAL_MPU_Disable();

  /** Initializes and configures the Region and the memory to be protected
  */
  MPU_InitStruct.Enable = MPU_REGION_ENABLE;
  MPU_InitStruct.Number = MPU_REGION_NUMBER0;
  MPU_InitStruct.BaseAddress = 0x0;
  MPU_InitStruct.Size = MPU_REGION_SIZE_4GB;
  MPU_InitStruct.SubRegionDisable = 0x87;
  MPU_InitStruct.TypeExtField = MPU_TEX_LEVEL0;
  MPU_InitStruct.AccessPermission = MPU_REGION_NO_ACCESS;
  MPU_InitStruct.DisableExec = MPU_INSTRUCTION_ACCESS_DISABLE;
  MPU_InitStruct.IsShareable = MPU_ACCESS_SHAREABLE;
  MPU_InitStruct.IsCacheable = MPU_ACCESS_NOT_CACHEABLE;
  MPU_InitStruct.IsBufferable = MPU_ACCESS_NOT_BUFFERABLE;

  HAL_MPU_ConfigRegion(&MPU_InitStruct);
  /* Enables the MPU */
  HAL_MPU_Enable(MPU_PRIVILEGED_DEFAULT);

}

void Error_Handler(void)
{
  __disable_irq();
  while (1)
  {
  }
}
